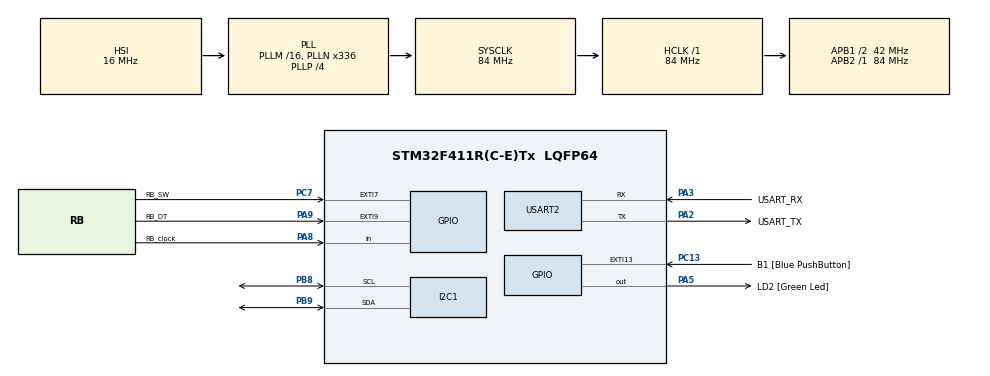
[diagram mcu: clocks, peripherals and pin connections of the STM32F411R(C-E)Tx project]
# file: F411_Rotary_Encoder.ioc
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Mcu.Family=STM32F4
Mcu.Name=STM32F411R(C-E)Tx
Mcu.Package=LQFP64
NVIC.EXTI15_10_IRQn=true\:0\:0\:false\:false\:true\:true\:true\:true
NVIC.EXTI9_5_IRQn=true\:0\:0\:false\:false\:true\:true\:true\:true
NVIC.PriorityGroup=NVIC_PRIORITYGROUP_0
PA13.GPIO_Label=TMS
PA13.Mode=Serial_Wire
PA13.Signal=SYS_JTMS-SWDIO
PA14.GPIO_Label=TCK
PA14.Mode=Serial_Wire
PA14.Signal=SYS_JTCK-SWCLK
PA2.GPIO_Label=USART_TX
PA2.Mode=Asynchronous
PA2.Signal=USART2_TX
PA3.GPIO_Label=USART_RX
PA3.Mode=Asynchronous
PA3.Signal=USART2_RX
PA5.GPIO_Label=LD2 [Green Led]
PA5.Signal=GPIO_Output
PA8.GPIO_Label=RB_clock
PA8.Signal=GPIO_Input
PA9.GPIO_Label=RB_DT
PA9.GPIO_ModeDefaultEXTI=GPIO_MODE_IT_FALLING
PA9.Signal=GPXTI9
PB3.GPIO_Label=SWO
PB3.Signal=SYS_JTDO-SWO
PB8.Mode=I2C
PB8.Signal=I2C1_SCL
PB9.Mode=I2C
PB9.Signal=I2C1_SDA
PC13-ANTI_TAMP.GPIO_Label=B1 [Blue PushButton]
PC13-ANTI_TAMP.GPIO_ModeDefaultEXTI=GPIO_MODE_IT_FALLING
PC13-ANTI_TAMP.Signal=GPXTI13
PC14-OSC32_IN.Mode=LSE-External-Oscillator
PC14-OSC32_IN.Signal=RCC_OSC32_IN
PC15-OSC32_OUT.Mode=LSE-External-Oscillator
PC15-OSC32_OUT.Signal=RCC_OSC32_OUT
PC7.GPIO_Label=RB_SW
PC7.Signal=GPXTI7
PH0\ -\ OSC_IN.Mode=HSE-External-Clock-Source
PH0\ -\ OSC_IN.Signal=RCC_OSC_IN
PH1\ -\ OSC_OUT.Mode=HSE-External-Clock-Source
PH1\ -\ OSC_OUT.Signal=RCC_OSC_OUT
ProjectManager.HeapSize=0x200
ProjectManager.StackSize=0x400
ProjectManager.TargetToolchain=STM32CubeIDE
RCC.48MHZClocksFreq_Value=84000000
RCC.AHBFreq_Value=84000000
RCC.APB1CLKDivider=RCC_HCLK_DIV2
RCC.APB1Freq_Value=42000000
RCC.APB1TimFreq_Value=84000000
RCC.APB2Freq_Value=84000000
RCC.APB2TimFreq_Value=84000000
RCC.CortexFreq_Value=84000000
RCC.FLatency-AdvancedSettings=FLASH_LATENCY_2
RCC.HCLKFreq_Value=84000000
RCC.HSE_VALUE=8000000
RCC.HSI_VALUE=16000000
RCC.PLLN=336
RCC.PLLP=RCC_PLLP_DIV4
RCC.SYSCLKFreq_VALUE=84000000
RCC.SYSCLKSource=RCC_SYSCLKSOURCE_PLLCLK
RCC.VCOOutputFreq_Value=336000000
USART2.VirtualMode=VM_ASYNC
board=NUCLEO-F411RE

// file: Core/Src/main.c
/* USER CODE BEGIN Header */
/**
 ******************************************************************************
 * @file           : main.c
 * @brief          : Main program body
 ******************************************************************************
 * @attention
 *
 * Copyright (c) 2023 STMicroelectronics.
 * All rights reserved.
 *
 * This software is licensed under terms that can be found in the LICENSE file
 * in the root directory of this software component.
 * If no LICENSE file comes with this software, it is provided AS-IS.
 *
 ******************************************************************************
 */
/* USER CODE END Header */
#include "main.h"

/* USER CODE BEGIN Includes */
#include "LCD_I2C.h"
#include "rot_enc.h"
#include "math.h"

/* USER CODE END Includes */

/* USER CODE BEGIN PD */
#define LCD_ADDR (0x27 << 1)

/* USER CODE END PD */

I2C_HandleTypeDef hi2c1;

UART_HandleTypeDef huart2;

/* USER CODE BEGIN PV */
uint8_t flag_RB = 0;
char rotary_value[16] = "";
int count=0;
int screen=1;
uint32_t previousMillis = 0;
uint32_t currentMillis = 0;
uint32_t timetick = 0 ;
uint8_t i = 0;
/* USER CODE END PV */

void SystemClock_Config(void);
static void MX_GPIO_Init(void);
static void MX_USART2_UART_Init(void);
static void MX_I2C1_Init(void);

/* USER CODE BEGIN 0 */
void ENC_vRotEnc_Handler(ENC_tenDir ENC__enDir)
{
	if(ENC__enDir == 0)
	{
		count++;
	}
	if(ENC__enDir > 0)
	{
		count--;
	}
	sprintf(rotary_value, "%i", count);
	flag_RB = 1;
}

void set_cursor(int val)
{
	if(val < 0)
	{
		LCD_put_cur(0, 0, LCD_ADDR);
		LCD_SendString(LCD_ADDR, ">");
		count = 0;
		screen = 1;
	}
	if(val > 5)
	{
		LCD_put_cur(1, 0, LCD_ADDR);
		LCD_SendString(LCD_ADDR, ">");
		count = 5;
		screen = 3;
	}
	else {
		if (val == 0 || val == 1)
		{
			screen = 1;
		}
		if (val == 2 || val == 3)
		{
			screen = 2;
		}
		if (val == 4 || val == 5)
		{
			screen = 3;
		}
		val = val%2;
		LCD_put_cur(val, 0, LCD_ADDR);
		LCD_SendString(LCD_ADDR, ">");
	}

}

void set_screen (int screen)
{
	if (screen == 1)
	{
		LCD_put_cur(0, 1, LCD_ADDR);
		LCD_SendString(LCD_ADDR, "Programme 1");
		LCD_put_cur(1, 1, LCD_ADDR);
		LCD_SendString(LCD_ADDR, "Programme 2");
	}
	if (screen == 2)
	{
		LCD_put_cur(0, 1, LCD_ADDR);
		LCD_SendString(LCD_ADDR, "Programme 3");
		LCD_put_cur(1, 1, LCD_ADDR);
		LCD_SendString(LCD_ADDR, "Programme 4");
	}
	if (screen == 3)
	{
		LCD_put_cur(0, 1, LCD_ADDR);
		LCD_SendString(LCD_ADDR, "Programme 5");
		LCD_put_cur(1, 1, LCD_ADDR);
		LCD_SendString(LCD_ADDR, "Programme 6");
	}
}

/* USER CODE END 0 */

int main(void)
{

  /* MCU Configuration--------------------------------------------------------*/

  /* Reset of all peripherals, Initializes the Flash interface and the Systick. */
  HAL_Init();

  /* Configure the system clock */
  SystemClock_Config();

  /* Initialize all configured peripherals */
  MX_GPIO_Init();
  MX_USART2_UART_Init();
  MX_I2C1_Init();
  /* USER CODE BEGIN 2 */
	LCD_Init(LCD_ADDR);
	I2C_Scan();
	while(i < 30)
	{
		if (((HAL_GetTick() - timetick)%300) ==	0 )
		{
			LCD_Do_Display_Shift(LCD_ADDR, 0);
			i++;
		}
	}
	LCD_clear(LCD_ADDR);
	LCD_Write_String(LCD_ADDR, "LCD + Rotary", 0);
	LCD_put_cur(1, 0, LCD_ADDR);
	LCD_SendString(LCD_ADDR, "Turn/push button");
  /* USER CODE END 2 */

  /* Infinite loop */
	while (1)
	{

    /* USER CODE BEGIN 3 */

		if (flag_RB == 1)
		{
			LCD_clear(LCD_ADDR);
			set_cursor(count);
			set_screen(screen);
			flag_RB = 0;
		}
	}
  /* USER CODE END 3 */
}

void SystemClock_Config(void)
{
  RCC_OscInitTypeDef RCC_OscInitStruct = {0};
  RCC_ClkInitTypeDef RCC_ClkInitStruct = {0};

  /** Configure the main internal regulator output voltage
  */
  __HAL_RCC_PWR_CLK_ENABLE();
  __HAL_PWR_VOLTAGESCALING_CONFIG(PWR_REGULATOR_VOLTAGE_SCALE1);

  /** Initializes the RCC Oscillators according to the specified parameters
  * in the RCC_OscInitTypeDef structure.
  */
  RCC_OscInitStruct.OscillatorType = RCC_OSCILLATORTYPE_HSI;
  RCC_OscInitStruct.HSIState = RCC_HSI_ON;
  RCC_OscInitStruct.HSICalibrationValue = RCC_HSICALIBRATION_DEFAULT;
  RCC_OscInitStruct.PLL.PLLState = RCC_PLL_ON;
  RCC_OscInitStruct.PLL.PLLSource = RCC_PLLSOURCE_HSI;
  RCC_OscInitStruct.PLL.PLLM = 16;
  RCC_OscInitStruct.PLL.PLLN = 336;
  RCC_OscInitStruct.PLL.PLLP = RCC_PLLP_DIV4;
  RCC_OscInitStruct.PLL.PLLQ = 4;
  if (HAL_RCC_OscConfig(&RCC_OscInitStruct) != HAL_OK)
  {
    Error_Handler();
  }

  /** Initializes the CPU, AHB and APB buses clocks
  */
  RCC_ClkInitStruct.ClockType = RCC_CLOCKTYPE_HCLK|RCC_CLOCKTYPE_SYSCLK
                              |RCC_CLOCKTYPE_PCLK1|RCC_CLOCKTYPE_PCLK2;
  RCC_ClkInitStruct.SYSCLKSource = RCC_SYSCLKSOURCE_PLLCLK;
  RCC_ClkInitStruct.AHBCLKDivider = RCC_SYSCLK_DIV1;
  RCC_ClkInitStruct.APB1CLKDivider = RCC_HCLK_DIV2;
  RCC_ClkInitStruct.APB2CLKDivider = RCC_HCLK_DIV1;

  if (HAL_RCC_ClockConfig(&RCC_ClkInitStruct, FLASH_LATENCY_2) != HAL_OK)
  {
    Error_Handler();
  }
}

static void MX_I2C1_Init(void)
{

  hi2c1.Instance = I2C1;
  hi2c1.Init.ClockSpeed = 100000;
  hi2c1.Init.DutyCycle = I2C_DUTYCYCLE_2;
  hi2c1.Init.OwnAddress1 = 0;
  hi2c1.Init.AddressingMode = I2C_ADDRESSINGMODE_7BIT;
  hi2c1.Init.DualAddressMode = I2C_DUALADDRESS_DISABLE;
  hi2c1.Init.OwnAddress2 = 0;
  hi2c1.Init.GeneralCallMode = I2C_GENERALCALL_DISABLE;
  hi2c1.Init.NoStretchMode = I2C_NOSTRETCH_DISABLE;
  if (HAL_I2C_Init(&hi2c1) != HAL_OK)
  {
    Error_Handler();
  }

}

static void MX_USART2_UART_Init(void)
{

  huart2.Instance = USART2;
  huart2.Init.BaudRate = 115200;
  huart2.Init.WordLength = UART_WORDLENGTH_8B;
  huart2.Init.StopBits = UART_STOPBITS_1;
  huart2.Init.Parity = UART_PARITY_NONE;
  huart2.Init.Mode = UART_MODE_TX_RX;
  huart2.Init.HwFlowCtl = UART_HWCONTROL_NONE;
  huart2.Init.OverSampling = UART_OVERSAMPLING_16;
  if (HAL_UART_Init(&huart2) != HAL_OK)
  {
    Error_Handler();
  }

}

static void MX_GPIO_Init(void)
{
  GPIO_InitTypeDef GPIO_InitStruct = {0};

  /* GPIO Ports Clock Enable */
  __HAL_RCC_GPIOC_CLK_ENABLE();
  __HAL_RCC_GPIOH_CLK_ENABLE();
  __HAL_RCC_GPIOA_CLK_ENABLE();
  __HAL_RCC_GPIOB_CLK_ENABLE();

  /*Configure GPIO pin Output Level */
  HAL_GPIO_WritePin(LD2_GPIO_Port, LD2_Pin, GPIO_PIN_RESET);

  /*Configure GPIO pin : B1_Pin */
  GPIO_InitStruct.Pin = B1_Pin;
  GPIO_InitStruct.Mode = GPIO_MODE_IT_FALLING;
  GPIO_InitStruct.Pull = GPIO_NOPULL;
  HAL_GPIO_Init(B1_GPIO_Port, &GPIO_InitStruct);

  /*Configure GPIO pin : LD2_Pin */
  GPIO_InitStruct.Pin = LD2_Pin;
  GPIO_InitStruct.Mode = GPIO_MODE_OUTPUT_PP;
  GPIO_InitStruct.Pull = GPIO_NOPULL;
  GPIO_InitStruct.Speed = GPIO_SPEED_FREQ_LOW;
  HAL_GPIO_Init(LD2_GPIO_Port, &GPIO_InitStruct);

  /*Configure GPIO pin : RB_SW_Pin */
  GPIO_InitStruct.Pin = RB_SW_Pin;
  GPIO_InitStruct.Mode = GPIO_MODE_IT_RISING;
  GPIO_InitStruct.Pull = GPIO_NOPULL;
  HAL_GPIO_Init(RB_SW_GPIO_Port, &GPIO_InitStruct);

  /*Configure GPIO pin : RB_clock_Pin */
  GPIO_InitStruct.Pin = RB_clock_Pin;
  GPIO_InitStruct.Mode = GPIO_MODE_INPUT;
  GPIO_InitStruct.Pull = GPIO_NOPULL;
  HAL_GPIO_Init(RB_clock_GPIO_Port, &GPIO_InitStruct);

  /*Configure GPIO pin : RB_DT_Pin */
  GPIO_InitStruct.Pin = RB_DT_Pin;
  GPIO_InitStruct.Mode = GPIO_MODE_IT_FALLING;
  GPIO_InitStruct.Pull = GPIO_NOPULL;
  HAL_GPIO_Init(RB_DT_GPIO_Port, &GPIO_InitStruct);

  /* EXTI interrupt init*/
  HAL_NVIC_SetPriority(EXTI9_5_IRQn, 0, 0);
  HAL_NVIC_EnableIRQ(EXTI9_5_IRQn);

  HAL_NVIC_SetPriority(EXTI15_10_IRQn, 0, 0);
  HAL_NVIC_EnableIRQ(EXTI15_10_IRQn);

}

/* USER CODE BEGIN 4 */
void HAL_GPIO_EXTI_Callback(uint16_t GPIO_Pin)
{
	currentMillis = HAL_GetTick();

	if (GPIO_Pin== RB_SW_Pin && (currentMillis - previousMillis > 100))
	{
		previousMillis = currentMillis;
		HAL_GPIO_TogglePin(LD2_GPIO_Port, LD2_Pin);
	}
	if (GPIO_Pin == RB_DT_Pin && (currentMillis - previousMillis > 10))
	{
		previousMillis = currentMillis;
		ENC__vINT_Handler();
	}
}
/* USER CODE END 4 */

void Error_Handler(void)
{
	__disable_irq();
	while (1)
	{
	}
}
